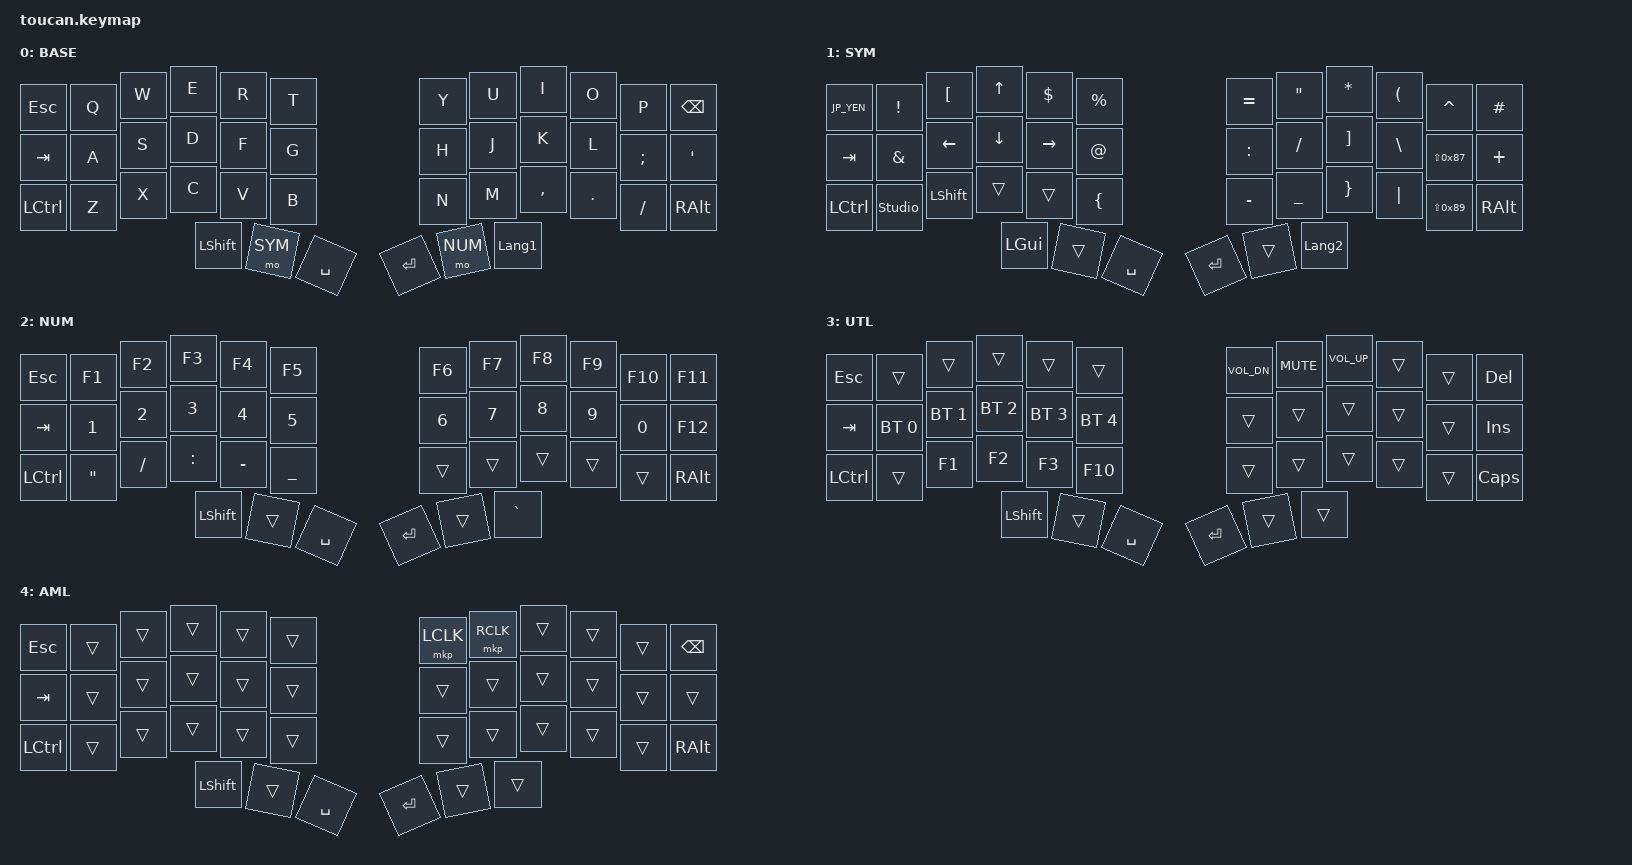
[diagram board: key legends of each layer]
#include <behaviors.dtsi>
#include <dt-bindings/zmk/keys.h>
#include <dt-bindings/zmk/bt.h>
#include <dt-bindings/zmk/outputs.h>
#include <dt-bindings/zmk/pointing.h>

#define BASE 0  //文字入力
#define SYM  1  //記号入力
#define NUM  2  //数字入力
#define UTL  3  //設定
#define AML  4  //Auto Mouse Layer

// OS設定を日本語キーボードのまま使用するための変換定義
#define JP_DQT          AT                // "
#define JP_AMPS         CARET             // &
#define JP_SQT          AMPS              // '
#define JP_EQUAL        UNDER             // =
#define JP_CARET        EQUAL             // ^
#define JP_YEN          0x89              // ¥
#define JP_PLUS         COLON             // +
#define JP_TILDE        PLUS              // ~
#define JP_PIPE         LS(0x89)          // |
#define JP_AT           LEFT_BRACKET      // @
#define JP_COLON        SINGLE_QUOTE      // :
#define JP_ATRK         DQT               // *
#define JP_BQT          LEFT_BRACE        // `
#define JP_UNDR         LS(0x87)          // _
#define JP_LBKT         RIGHT_BRACKET     // [
#define JP_RBKT         BACKSLASH         // ]
#define JP_LPAR         ASTERISK          // (
#define JP_RPAR         LEFT_PARENTHESIS  // )
#define JP_LBRC         RIGHT_BRACE       // {
#define JP_RBRC         PIPE              // }
#define JP_KANA         LANGUAGE_1        // かな
#define JP_EISU         LANGUAGE_2        // 英数
#define JP_HANZEN       GRAVE             // 半角/全角

/ {
    conditional_layers {
        compatible = "zmk,conditional-layers";
        tri_layer {
            if-layers = <1 2>;
            then-layer = <3>;
        };
    };

    keymap {
        compatible = "zmk,keymap";

        base {
            display-name = "BASE";
            bindings = <
                &kp ESC   &kp Q &kp W &kp E &kp R &kp T   &kp Y &kp U  &kp I     &kp O   &kp P    &kp BSPC
                &kp TAB   &kp A &kp S &kp D &kp F &kp G   &kp H &kp J  &kp K     &kp L   &kp SEMI &kp JP_COLON
                &kp LCTRL &kp Z &kp X &kp C &kp V &kp B   &kp N &kp M  &kp COMMA &kp DOT &kp FSLH &kp RALT
                            &kp LSHFT &mo SYM &kp SPACE   &kp RET &mo NUM &kp JP_KANA
            >;
        };

        sym {
            display-name = "SYM";
            bindings = <
                &kp JP_YEN &kp EXCL       &kp JP_AT &kp UP   &kp DLLR  &kp PRCNT    &kp JP_CARET &kp JP_ATRK  &kp JP_LPAR &kp JP_RPAR &kp JP_AMPS &kp HASH
                &kp TAB    &kp JP_SQT     &kp LEFT  &kp DOWN &kp RIGHT &kp JP_DQT   &kp JP_PLUS  &kp FSLH     &kp JP_LBKT &kp JP_RBKT &kp JP_UNDR &kp JP_TILDE
                &kp LCTRL  &studio_unlock &kp LSHFT &trans   &trans    &kp JP_BQT   &kp MINUS    &kp JP_EQUAL &kp JP_LBRC &kp JP_RBRC &kp JP_PIPE &kp RALT
                                                   &kp LGUI &trans    &kp SPACE    &kp RET      &trans       &kp JP_EISU
            >;
        };

        num {
            display-name = "NUM";
            bindings = <
                &kp ESC   &kp F1      &kp F2   &kp F3      &kp F4    &kp F5         &kp F6  &kp F7 &kp F8 &kp F9 &kp F10 &kp F11
                &kp TAB   &kp N1      &kp N2   &kp N3      &kp N4    &kp N5         &kp N6  &kp N7 &kp N8 &kp N9 &kp N0  &kp F12
                &kp LCTRL &kp JP_ATRK &kp FSLH &kp JP_PLUS &kp MINUS &kp JP_EQUAL   &trans  &trans &trans &trans &trans  &kp RALT
                                                       &kp LSHFT &trans &kp SPACE   &kp RET &trans &kp JP_HANZEN
            >;
        };

        utl {
            display-name = "UTL";
            bindings = <
                &kp ESC   &trans       &trans       &trans       &trans       &trans         &kp C_VOL_DN &kp C_MUTE  &kp C_VOL_UP &trans &trans &kp DEL
                &kp TAB   &bt BT_SEL 0 &bt BT_SEL 1 &bt BT_SEL 2 &bt BT_SEL 3 &bt BT_SEL 4   &trans       &trans      &trans       &trans &trans &kp INS
                &kp LCTRL &trans       &kp F1       &kp F2       &kp F3       &kp F10        &trans       &trans      &trans       &trans &trans &kp CAPS
                                                               &kp LSHFT &trans &kp SPACE    &kp RET &trans &trans
            >;
        };

        aml {
            display-name = "AML";
            bindings = <
                &kp ESC   &trans &trans &trans &trans &trans    &mkp LCLK &mkp RCLK &trans &trans &trans &kp BSPC
                &kp TAB   &trans &trans &trans &trans &trans    &trans    &trans    &trans &trans &trans &trans
                &kp LCTRL &trans &trans &trans &trans &trans    &trans    &trans    &trans &trans &trans &kp RALT
                                 &kp LSHFT &trans &kp SPACE   &kp RET &trans &trans
            >;
        };

        extra_1 {
                status = "reserved";
        };

        extra_2 {
                status = "reserved";
        };

        extra_3 {
                status = "reserved";
        };
    };
};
